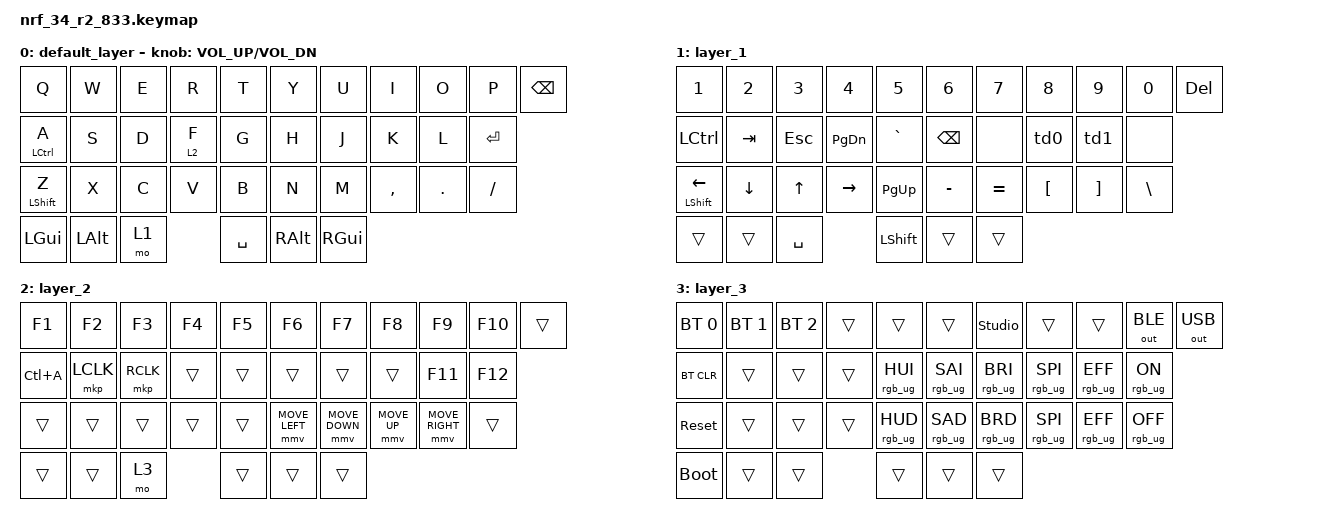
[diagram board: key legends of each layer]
/*
 * Copyright (c) 2020 The ZMK Contributors
 *
 * SPDX-License-Identifier: MIT
 */

#include <behaviors.dtsi>
#include <dt-bindings/zmk/keys.h>
#include <dt-bindings/zmk/bt.h>
#include <dt-bindings/zmk/outputs.h>
#include <dt-bindings/zmk/pointing.h>
#include <dt-bindings/zmk/rgb.h>
#include <dt-bindings/zmk/ext_power.h>


#define ZMK_POINTING_DEFAULT_MOVE_VAL 1500  // default: 600
#define ZMK_POINTING_DEFAULT_SCRL_VAL 20    // default: 10

/* Uncomment this block if using an encoder */
//&encoder {
//    status = "okay";
//};

&lt {
    tapping-term-ms = <200>;
    flavor = "balanced";
    quick-tap-ms = <50>;
};

&mt {
    tapping-term-ms = <200>;
    flavor = "balanced";
    quick-tap-ms = <50>;
};

&soft_off {
    hold-time-ms = <5000>; // Only turn off it the key is held for 5 seconds or longer.
};

&led_strip {
    chain-length = <16>;
};

/ {
    td0: tap_dance_0 {
            compatible = "zmk,behavior-tap-dance";
            #binding-cells = <0>;
            tapping-term-ms = <180>;
            bindings = <&kp SEMI>, <&kp COLON>;
        };
    td1: tap_dance_1 {
            compatible = "zmk,behavior-tap-dance";
            #binding-cells = <0>;
            tapping-term-ms = <180>;
            bindings = <&kp SQT>, <&kp DQT>;
        };
    combos {
        compatible = "zmk,combos";
        combo_esc {
            timeout-ms = <10>;
            key-positions = <0 1>;
            bindings = <&kp ESC>;
        };
        combo_sft_tab {
            timeout-ms = <10>;
            key-positions = <1 2>;
            bindings = <&kp LS(TAB)>;
        };
        combo_tab {
            timeout-ms = <10>;
            key-positions = <2 3>;
            bindings = <&kp TAB>;
        };
    };
    keymap {
        compatible = "zmk,keymap";

        default_layer {
            bindings = <
                &kp Q    &kp W    &kp E  &kp R     &kp T  &kp Y   &kp U   &kp I     &kp O    &kp P     &kp BSPC
                &mt LCTRL A    &kp S    &kp D  &lt 2 F   &kp G  &kp H   &kp J   &kp K     &kp L    &kp RET
                &mt LSHFT Z    &kp X    &kp C  &kp V     &kp B  &kp N   &kp M   &kp COMMA &kp DOT  &kp SLASH
                         &kp LGUI &kp LALT    &mo 1     &kp SPACE         &kp RALT  &kp RGUI
            >;
            sensor-bindings = <&inc_dec_kp C_VOL_UP C_VOL_DN>;
        };

        layer_1 {
            bindings = <
                &kp N1            &kp N2   &kp N3  &kp N4    &kp N5    &kp N6     &kp N7    &kp N8    &kp N9   &kp N0    &kp DEL
                &kp LCTRL         &kp TAB  &kp ESC &kp PG_DN &kp GRAVE &kp BSPC   &none     &td0      &td1     &none
                &mt LSHFT LEFT    &kp DOWN &kp UP  &kp RIGHT &kp PG_UP &kp MINUS  &kp EQUAL &kp LBKT  &kp RBKT &kp BSLH
                         &trans   &trans   &kp SPACE    &kp LSHFT        &trans  &trans
            >;
        };

        layer_2 {
            bindings = <
                &kp F1       &kp F2    &kp F3    &kp F4 &kp F5 &kp F6         &kp F7         &kp F8       &kp F9          &kp F10   &trans
                &kp LC(A) &mkp LCLK &mkp RCLK    &trans &trans &trans         &trans         &trans       &kp F11         &kp F12
                &trans       &trans    &trans    &trans &trans &mmv MOVE_LEFT &mmv MOVE_DOWN &mmv MOVE_UP &mmv MOVE_RIGHT &trans
                             &trans    &trans    &mo 3  &trans   &trans    &trans
            >;
        };

        layer_3 {
            bindings = <
                &bt BT_SEL 0  &bt BT_SEL 1  &bt BT_SEL 2  &trans    &trans    &trans     &studio_unlock    &trans    &trans   &out OUT_BLE &out OUT_USB
                &bt BT_CLR    &trans        &trans        &trans    &rgb_ug RGB_HUI      &rgb_ug RGB_SAI   &rgb_ug RGB_BRI  &rgb_ug RGB_SPI   &rgb_ug RGB_EFF   &rgb_ug RGB_ON
                &sys_reset    &trans        &trans        &trans    &rgb_ug RGB_HUD      &rgb_ug RGB_SAD   &rgb_ug RGB_BRD  &rgb_ug RGB_SPI   &rgb_ug RGB_EFF  &rgb_ug RGB_OFF
                                            &bootloader   &trans    &trans    &trans     &trans            &trans
            >;
        };
    };
};
